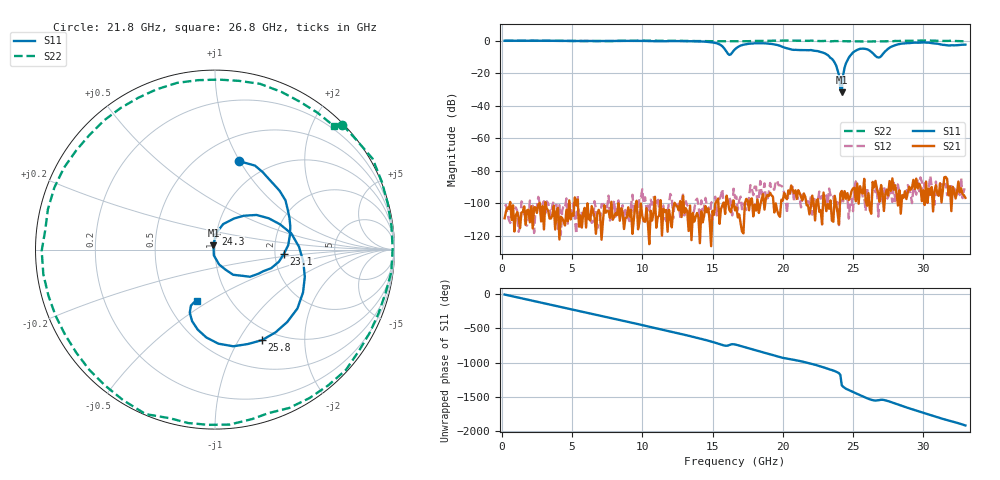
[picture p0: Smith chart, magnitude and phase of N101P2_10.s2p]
# GHZ S RI R 50
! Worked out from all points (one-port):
!   329 points, 200 MHz to 33 GHz, reference 50 ohm
!   lowest |S11| = -31.6 dB at 24.2 GHz (marker M1), VSWR 1.05, Z = 49.1 + j2.43 ohm
!   |S11| at or under -10 dB: 23.34 GHz to 24.73 GHz (1.397 GHz wide, 5.81 % of centre); 26.69 GHz to 26.93 GHz (237.1 MHz wide, 0.884 % of centre)
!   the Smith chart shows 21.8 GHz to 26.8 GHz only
!   S11 on the Smith chart (normalised r, x): 21.8 GHz: 0.74, +0.99; 23.1 GHz: 2.25, -0.12; 24.3 GHz: 0.99, +0.18; 25.8 GHz: 0.85, -1.26; 26.8 GHz: 0.70, -0.45
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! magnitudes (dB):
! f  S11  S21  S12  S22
! 200 MHz  0.0  -109.3  -101.7  0.0
! 5.7 GHz  -0.1  -115.0  -104.9  -0.2
! 11.2 GHz  -0.3  -107.7  -103.4  0.0
! 15.2 GHz  -1.3  -100.2  -96.0  -0.3
! 16.2 GHz  -8.7  -104.3  -96.0  -0.3
! 16.6 GHz  -5.2  -104.5  -96.6  -0.4
! 18.4 GHz  -1.5  -101.1  -86.4  -0.1
! 21.8 GHz  -5.8  -101.4  -98.9  -0.1
! 22.1 GHz  -5.9  -95.4  -107.1  0.0
! 23.1 GHz  -8.3  -104.9  -95.2  -0.1
! 23.8 GHz  -15.2  -100.8  -102.1  -0.2
! 24 GHz  -21.3  -113.0  -113.6  0.0
! 24.1 GHz  -29.6  -94.2  -99.0  -0.2
! 24.2 GHz  -31.6  -92.5  -98.2  -0.2
! 24.3 GHz  -21.1  -97.7  -99.0  -0.3
! 24.5 GHz  -13.8  -97.4  -95.2  -0.4
! 24.8 GHz  -9.2  -96.1  -99.1  -0.3
! 25.8 GHz  -4.9  -85.0  -96.3  -0.5
! 26.8 GHz  -10.3  -94.0  -108.3  -0.4
! 27.6 GHz  -4.3  -86.4  -93.9  -0.3
! 29.4 GHz  -1.2  -91.3  -91.8  -0.1
! 33 GHz  -2.4  -96.7  -91.6  -0.4
